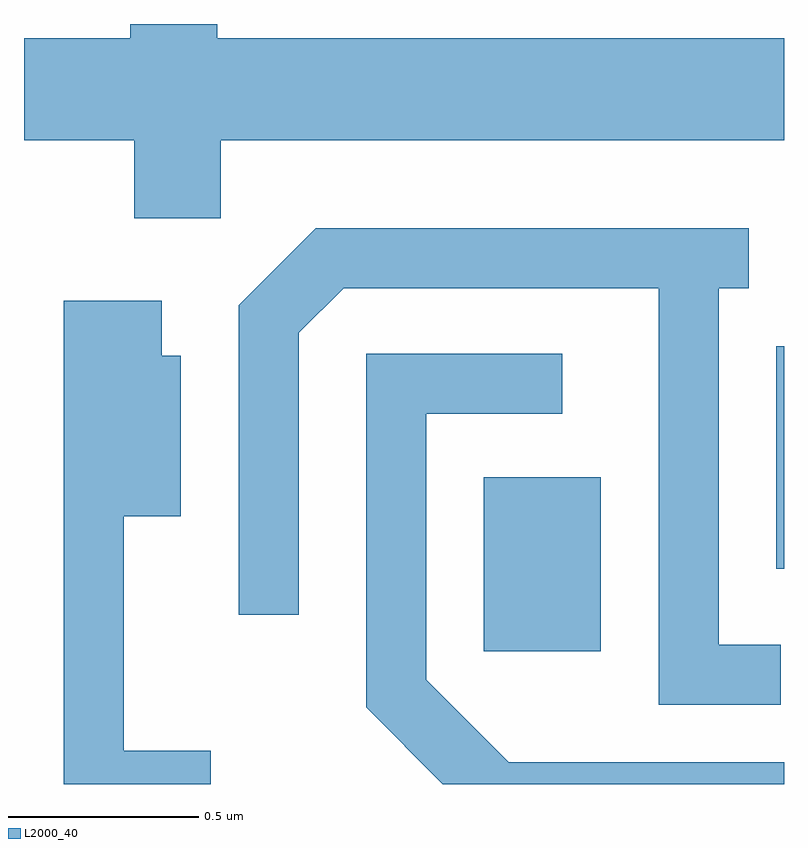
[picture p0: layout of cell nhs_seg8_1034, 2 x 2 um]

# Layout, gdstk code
import gdstk
lib = gdstk.Library(unit=1e-6, precision=1e-09)
def R(c, l, rs):  # rectangles x0, y0, x1, y1
    for r in rs: c.add(gdstk.rectangle(r[:2], r[2:], *l))
def P(c, l, *ps):  # polygons
    for p in ps: c.add(gdstk.Polygon(p, *l))
L2000_40 = (2000, 40)

nhs_seg8_1034 = lib.new_cell('nhs_seg8_1034')
R(nhs_seg8_1034, L2000_40, [(193.821,1881.691,194.129,1882.149), (194.591,1881.908,194.611,1882.494)])
P(nhs_seg8_1034, L2000_40, [(193.129,1883.036),(194.611,1883.036),(194.611,1883.304),(193.119,1883.304),(193.119,1883.342),(192.891,1883.342),(192.891,1883.304),(192.611,1883.304),(192.611,1883.036),(192.901,1883.036),(192.901,1882.831),(193.129,1882.831)],
  [(194.603,1881.709),(194.439,1881.709),(194.439,1882.646),(194.518,1882.646),(194.518,1882.804),(193.379,1882.804),(193.176,1882.602),(193.176,1881.788),(193.334,1881.788),(193.334,1882.529),(193.452,1882.646),(194.281,1882.646),(194.281,1881.551),(194.603,1881.551)],
  [(193.103,1881.429),(192.874,1881.429),(192.874,1882.046),(193.024,1882.046),(193.024,1882.469),(192.974,1882.469),(192.974,1882.614),(192.716,1882.614),(192.716,1881.342),(193.103,1881.342)],
  [(194.611,1881.399),(193.887,1881.399),(193.669,1881.617),(193.669,1882.316),(194.028,1882.316),(194.028,1882.474),(193.511,1882.474),(193.511,1881.544),(193.713,1881.342),(194.611,1881.342)])

lib.write_gds('nhs_seg8_1034.gds')
